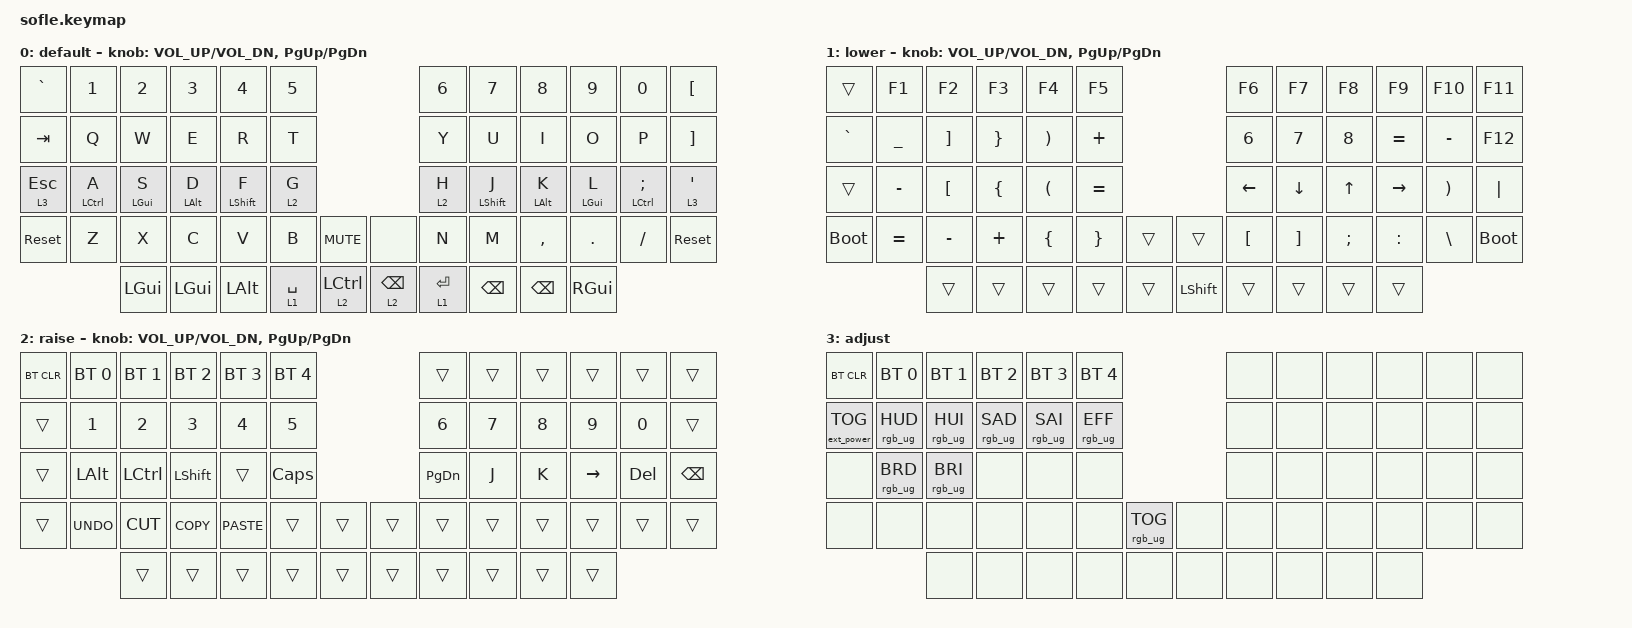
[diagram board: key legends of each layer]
/*
 * Copyright (c) 2020 The ZMK Contributors
 *
 * SPDX-License-Identifier: MIT
 */

#include <behaviors.dtsi>
#include <dt-bindings/zmk/bt.h>
#include <dt-bindings/zmk/ext_power.h>
#include <dt-bindings/zmk/keys.h>
#include <dt-bindings/zmk/rgb.h>

#define BASE 0
#define LOWER 1
#define RAISE 2
#define ADJUST 3

/ {
    // Activate ADJUST layer by pressing raise and lower

    conditional_layers {
        compatible = "zmk,conditional-layers";

        adjust_layer {
            if-layers = <LOWER RAISE>;
            then-layer = <ADJUST>;
        };
    };

    behaviors {
        hm: homerow_mods {
            compatible = "zmk,behavior-hold-tap";
            #binding-cells = <2>;
            tapping-term-ms = <200>;
            quick-tap-ms = <0>;
            flavor = "tap-preferred";
            bindings = <&kp>, <&kp>;
        };
    };

    keymap {
        compatible = "zmk,keymap";

        default_layer {
            display-name = "default";

            // ------------------------------------------------------------------------------------------------------------
            // |   `   |  1  |  2  |  3   |  4   |  5   |                   |  6   |  7    |  8    |  9   |   0   |       |
            // |  ESC  |  Q  |  W  |  E   |  R   |  T   |                   |  Y   |  U    |  I    |  O   |   P   | BKSPC |
            // |  TAB  |  A  |  S  |  D   |  F   |  G   |                   |  H   |  J    |  K    |  L   |   ;   |   '   |
            // | SHIFT |  Z  |  X  |  C   |  V   |  B   |  MUTE  |  |       |  N   |  M    |  ,    |  .   |   /   | SHIFT |
            //               | GUI | ALT  | CTRL | LOWER|  ENTER |  | SPACE | RAISE| CTRL  | ALT   | GUI  |

            bindings = <
&kp GRAVE     &kp N1       &kp N2      &kp N3      &kp N4            &kp N5                                       &kp N6     &kp N7            &kp N8      &kp N9      &kp N0          &kp LBKT
&kp TAB       &kp Q        &kp W       &kp E       &kp R             &kp T                                        &kp Y      &kp U             &kp I       &kp O       &kp P           &kp RBKT
&lt 3 ESCAPE  &hm LCTRL A  &hm LGUI S  &hm LALT D  &hm LEFT_SHIFT F  &lt 2 G                                      &lt 2 H    &hm LEFT_SHIFT J  &hm LALT K  &hm LGUI L  &hm LCTRL SEMI  &lt 3 SQT
&sys_reset    &kp Z        &kp X       &kp C       &kp V             &kp B        &kp C_MUTE     &none            &kp N      &kp M             &kp COMMA   &kp DOT     &kp FSLH        &sys_reset
                           &kp LGUI    &kp LGUI    &kp LALT          &lt 1 SPACE  &lt 2 LCTRL    &lt 2 BACKSPACE  &lt 1 RET  &kp BACKSPACE     &kp BSPC    &kp RGUI
            >;

            sensor-bindings = <&inc_dec_kp C_VOL_UP C_VOL_DN &inc_dec_kp PG_UP PG_DN>;
        };

        lower_layer {
            display-name = "lower";

            // TODO: Some binds are waiting for shifted keycode support.
            // ------------------------------------------------------------------------------------------------------------
            // |       |  F1 |  F2 |  F3  |  F4  |  F5  |                   |  F6  |  F7   |  F8   |  F9  |  F10  |  F11  |
            // |   `   |  1  |  2  |  3   |  4   |  5   |                   |  6   |  7    |  8    |  9   |   0   |  F12  |
            // |       |  !  |  @  |  #   |  $   |  %   |                   |  ^   |  &    |  *    |  (   |   )   |   |   |
            // |       |  =  |  -  |  +   |  {   |  }   |        |  |       |  [   |  ]    |  ;    |  :   |   \   |       |
            //               |     |      |      |      |        |  |       |      |       |       |      |

            bindings = <
&trans       &kp F1     &kp F2             &kp F3           &kp F4                 &kp F5                           &kp F6          &kp F7          &kp F8        &kp F9     &kp F10    &kp F11
&kp GRAVE    &kp UNDER  &kp RIGHT_BRACKET  &kp RIGHT_BRACE  &kp RIGHT_PARENTHESIS  &kp PLUS                         &kp N6          &kp N7          &kp N8        &kp EQUAL  &kp MINUS  &kp F12
&trans       &kp MINUS  &kp LEFT_BRACKET   &kp LEFT_BRACE   &kp LEFT_PARENTHESIS   &kp EQUAL                        &kp LEFT_ARROW  &kp DOWN_ARROW  &kp UP_ARROW  &kp RIGHT  &kp RPAR   &kp PIPE
&bootloader  &kp EQUAL  &kp MINUS          &kp PLUS         &kp LBRC               &kp RBRC   &trans    &trans      &kp LBKT        &kp RBKT        &kp SEMI      &kp COLON  &kp BSLH   &bootloader
                        &trans             &trans           &trans                 &trans     &trans    &kp LSHIFT  &trans          &trans          &trans        &trans
            >;

            sensor-bindings = <&inc_dec_kp C_VOL_UP C_VOL_DN &inc_dec_kp PG_UP PG_DN>;
        };

        raise_layer {
            display-name = "raise";

            // ------------------------------------------------------------------------------------------------------------
            // | BTCLR | BT1  | BT2  |  BT3  |  BT4  |  BT5 |                |      |      |       |      |       |       |
            // |       | INS  | PSCR | GUI   |       |      |                | PGUP |      |   ^   |      |       |       |
            // |       | ALT  | CTRL | SHIFT |       | CAPS |                | PGDN |   <- |   v   |  ->  |  DEL  | BKSPC |
            // |       | UNDO | CUT  | COPY  | PASTE |      |      |  |      |      |      |       |      |       |       |
            //                |      |       |       |      |      |  |      |      |      |       |      |

            bindings = <
&bt BT_CLR  &bt BT_SEL 0  &bt BT_SEL 1  &bt BT_SEL 2  &bt BT_SEL 3  &bt BT_SEL 4                    &trans        &trans  &trans  &trans     &trans   &trans
&trans      &kp NUMBER_1  &kp NUMBER_2  &kp NUMBER_3  &kp NUMBER_4  &kp N5                          &kp NUMBER_6  &kp N7  &kp N8  &kp N9     &kp N0   &trans
&trans      &kp LALT      &kp LCTRL     &kp LSHFT     &trans        &kp CLCK                        &kp PG_DN     &kp J   &kp K   &kp RIGHT  &kp DEL  &kp BSPC
&trans      &kp K_UNDO    &kp K_CUT     &kp K_COPY    &kp K_PASTE   &trans        &trans    &trans  &trans        &trans  &trans  &trans     &trans   &trans
                          &trans        &trans        &trans        &trans        &trans    &trans  &trans        &trans  &trans  &trans
            >;

            sensor-bindings = <&inc_dec_kp C_VOL_UP C_VOL_DN &inc_dec_kp PG_UP PG_DN>;
        };

        adjust_layer {
            // ----------------------------------------------------------------------------------------------------------------------------
            // | BTCLR  |  BT1    |  BT2    |   BT3   |   BT4   |   BT5   |                  |      |      |       |      |       |       |
            // | EXTPWR | RGB_HUD | RGB_HUI | RGB_SAD | RGB_SAI | RGB_EFF |                  |      |      |       |      |       |       |
            // |        | RGB_BRD | RGB_BRI |         |         |         |                  |      |      |       |      |       |       |
            // |        |         |         |         |         |         | RGB_TOG | |      |      |      |       |      |       |       |
            //                    |         |         |         |         |         | |      |      |      |       |      |

            display-name = "adjust";
            bindings = <
&bt BT_CLR         &bt BT_SEL 0     &bt BT_SEL 1     &bt BT_SEL 2     &bt BT_SEL 3     &bt BT_SEL 4                               &none  &none  &none  &none  &none  &none
&ext_power EP_TOG  &rgb_ug RGB_HUD  &rgb_ug RGB_HUI  &rgb_ug RGB_SAD  &rgb_ug RGB_SAI  &rgb_ug RGB_EFF                            &none  &none  &none  &none  &none  &none
&none              &rgb_ug RGB_BRD  &rgb_ug RGB_BRI  &none            &none            &none                                      &none  &none  &none  &none  &none  &none
&none              &none            &none            &none            &none            &none            &rgb_ug RGB_TOG    &none  &none  &none  &none  &none  &none  &none
                                    &none            &none            &none            &none            &none              &none  &none  &none  &none  &none
            >;
        };
    };
};
